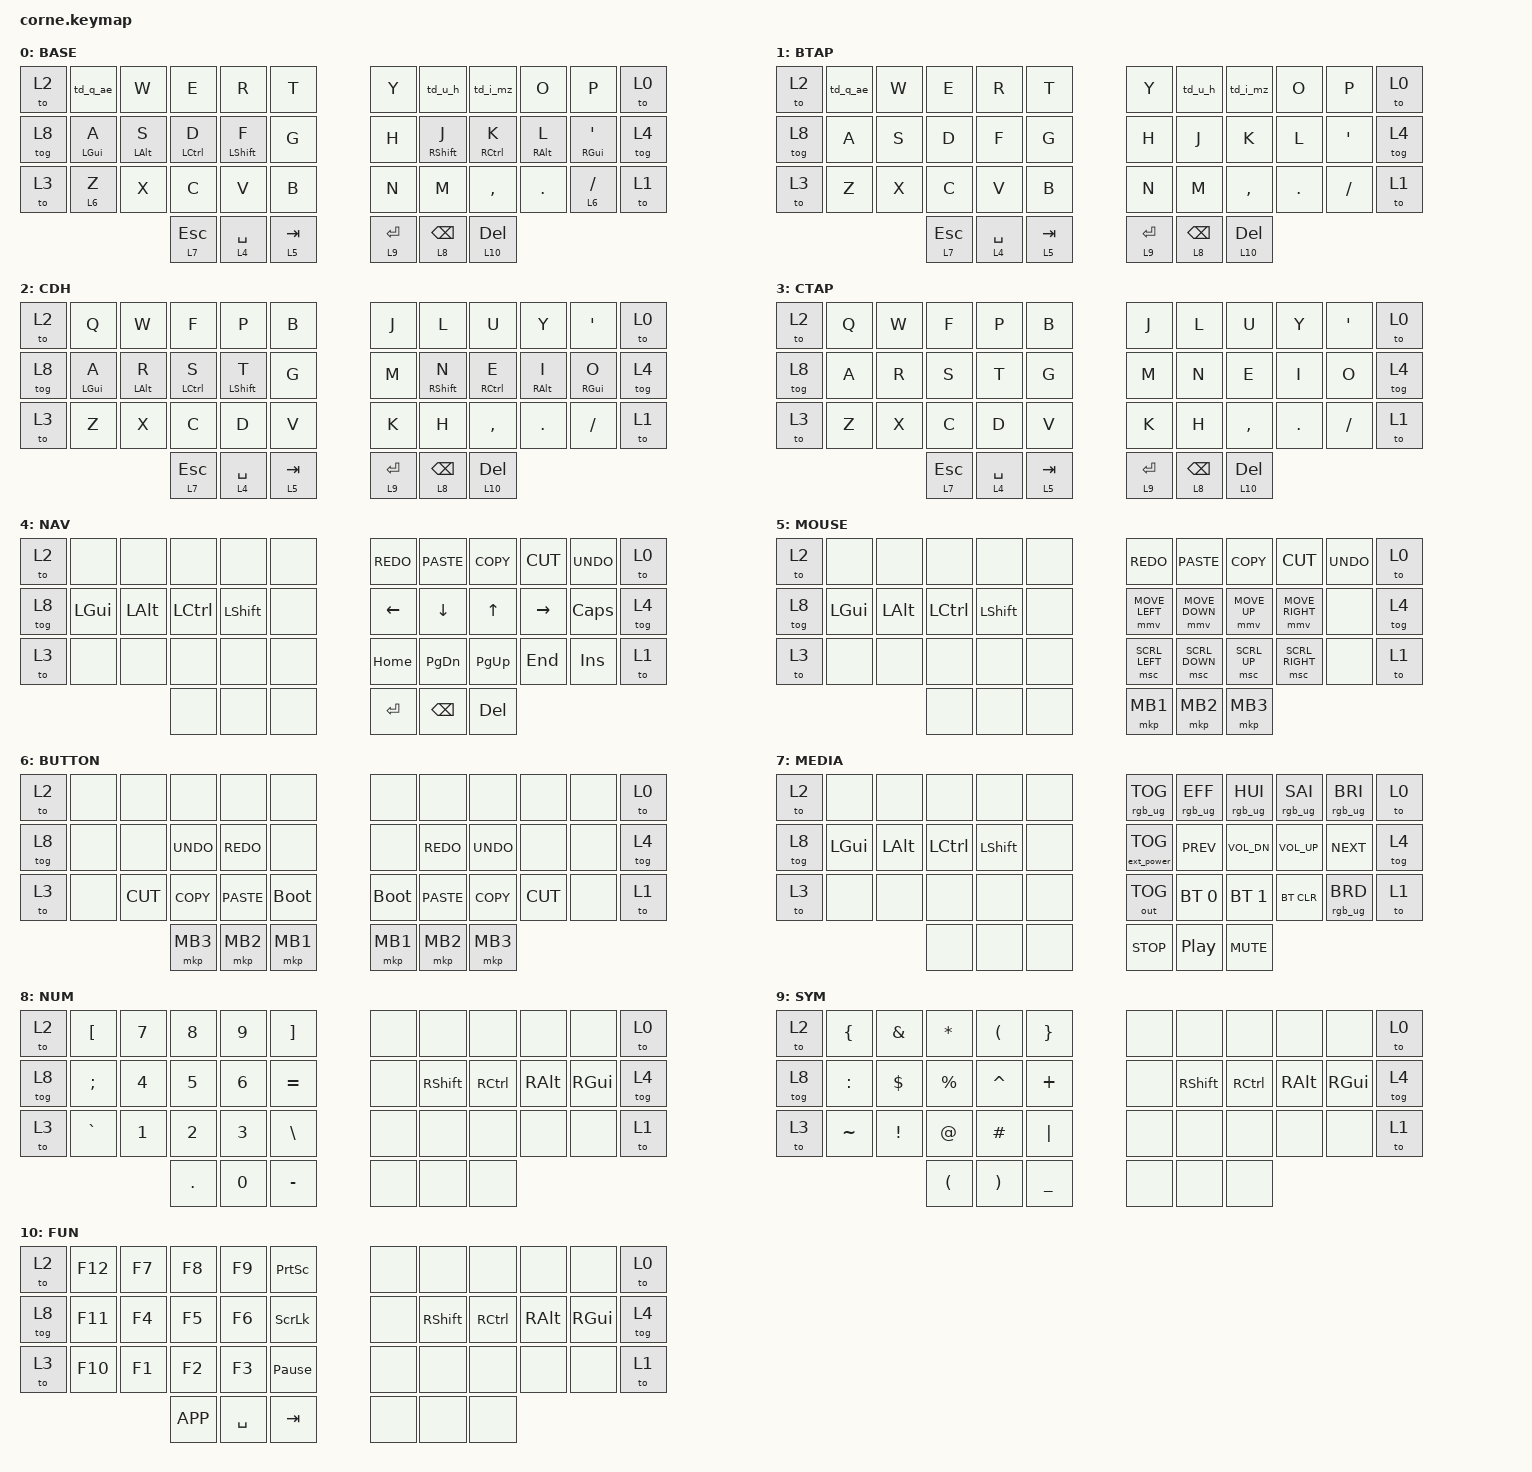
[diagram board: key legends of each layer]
/*
 * Copyright (c) 2020 The ZMK Contributors
 *
 * SPDX-License-Identifier: MIT
 */

#include <behaviors.dtsi>
#include <dt-bindings/zmk/keys.h>
#include <dt-bindings/zmk/bt.h>
#include <dt-bindings/zmk/ext_power.h>
#include <dt-bindings/zmk/outputs.h>
#include <dt-bindings/zmk/mouse.h>
#include <dt-bindings/zmk/rgb.h>

/ {
    behaviors {
    // Й / Э
        td_q_ae: td_q_ae {
        compatible = "zmk,behavior-tap-dance";
        #binding-cells = <0>;
        tapping-term-ms = <200>;
        bindings = <&kp Q>, <&kp SQT>;
    };
    // Г / Х
        td_u_h: td_u_h {
        compatible = "zmk,behavior-tap-dance";
        #binding-cells = <0>;
        tapping-term-ms = <200>;
        bindings = <&kp U>, <&kp LBRC>;
        };
    // Ш / Ъ
        td_i_mz: td_i_mz {
        compatible = "zmk,behavior-tap-dance";
        #binding-cells = <0>;
        tapping-term-ms = <200>;
        bindings = <&kp I>, <&kp RBRC>;
        };
        hml: home_row_mod_left {
            compatible = "zmk,behavior-hold-tap";
            #binding-cells = <2>;
            flavor = "balanced";
            require-prior-idle-ms = <150>;
            tapping-term-ms = <280>;
            quick-tap-ms = <175>;
            bindings = <&kp>, <&kp>;
            hold-trigger-key-positions = <6 7 8 9 10 11 18 19 20 21 22 23 30 31 32 33 34 35 39 40 41>;
            hold-trigger-on-release;
        };
        hmr: home_row_mod_right {
            compatible = "zmk,behavior-hold-tap";
            #binding-cells = <2>;
            flavor = "balanced";
            require-prior-idle-ms = <150>;
            tapping-term-ms = <280>;
            quick-tap-ms = <175>;
            bindings = <&kp>, <&kp>;
            hold-trigger-key-positions = <0 1 2 3 4 5 12 13 14 15 16 17 24 25 26 27 28 29 36 37 38>;
            hold-trigger-on-release;
        };
    };

        keymap {
                compatible = "zmk,keymap";

                base_layer { // Layer O
                    display-name = "BASE";
// -----------------------------------------------------------------------------------------
// | (CDH)  | Q          | W        | E         | R         | T |   | Y | U          | I         | O        | P             | (BASE) |
// | (NUM)  | A (LGUI)   | S (LALT) | D (LCTRL) | F (LSHFT) | G |   | H | J (RSHFT) | K (RCTRL) | L (RALT) | SQT (RGUI)    | (NAV)  |
// | (CTAP) | Z (BUTTON) | X        | C         | V         | B |   | N | M          | COMMA     | DOT      | FSLH (BUTTON) | (BTAP) |
//                      | ESC (MEDIA) | SPC (NAV) | TAB (MOUSE) |   | RET (SYM) | BSPC (NUM) | DEL (FUN) |
                        bindings = <
   &to 2    &td_q_ae     &kp W       &kp E        &kp R        &kp T   &kp Y &td_u_h       &td_i_mz         &kp O         &kp P         &to 0
   &tog 8  &hml LGUI A &hml LALT S &hml LCTRL D &hml LSHFT F &kp G   &kp H &hmr RSHFT J  &hmr RCTRL K     &hmr RALT L   &hmr RGUI SQT &tog 4
   &to 3    &lt 6 Z     &kp X       &kp C        &kp V        &kp B   &kp N &kp M         &kp COMMA        &kp DOT       &lt 6 FSLH    &to 1
                                     &lt 7 ESC &lt 4 SPC &lt 5 TAB   &lt 9 RET &lt 8 BSPC &lt 10 DEL
                        >;
                };

                btap_layer { // Layer 1
                    display-name = "BTAP";
// -----------------------------------------------------------------------------------------
// |  (CDH)   |  Q  |  W  |  E  |  R  |  T  |   |  Y  |  U  |  I     |  O    |  P      |  (BASE)  |
// |  (NUM)   |  A  |  S  |  D  |  F  |  G  |   |  H  |  J  |  K     |  L    |  SQT    |  (NAV)   |
// |  (CTAP)  |  Z  |  X  |  C  |  V  |  B  |   |  N  |  M  |  COMMA |  DOT  |  FSLH   |  (BTAP)  |
//  | ESC (MEDIA) | SPC (NAV) | TAB (MOUSE) |   | RET (SYM) | BSPC (NUM) | DEL (FUN) |
                        bindings = <
   &to 2   &td_q_ae &kp W &kp E &kp R &kp T   &kp Y &td_u_h &td_i_mz  &kp O   &kp P    &to 0
   &tog 8  &kp A    &kp S &kp D &kp F &kp G   &kp H &kp J   &kp K     &kp L   &kp SQT  &tog 4
   &to 3   &kp Z    &kp X &kp C &kp V &kp B   &kp N &kp M   &kp COMMA &kp DOT &kp FSLH &to 1
              &lt 7 ESC &lt 4 SPC &lt 5 TAB   &lt 9 RET &lt 8 BSPC &lt 10 DEL
                        >;
                };

                cdh_layer { // Layer 2
                    display-name = "CDH";
// -----------------------------------------------------------------------------------------
// | (CDH)  | Q          | W        | F         | P         | B |   | J | L         | U         | Y        | SQT           | (BASE) |
// | (NUM)  | A (LGUI)   | R (LALT) | S (LCTRL) | T (LSHFT) | G |   | M | N (RSHFT) | E (RCTRL) | I (RALT) | O (RGUI)      | (NAV)  |
// | (CTAP) | Z (BUTTON) | X        | C         | D         | V |   | K | H         | COMMA     | DOT      | FSLH (BUTTON) | (BTAP) |
//                      | ESC (MEDIA) | SPC (NAV) | TAB (MOUSE) |   | RET (SYM) | BSPC (NUM) | DEL (FUN) |
                        bindings = <
   &to 2  &kp Q       &kp W       &kp F        &kp P        &kp B   &kp J &kp L        &kp U        &kp Y       &kp SQT     &to 0
   &tog 8 &hml LGUI A &hml LALT R &hml LCTRL S &hml LSHFT T &kp G   &kp M &hmr RSHFT N &hmr RCTRL E &hmr RALT I &hmr RGUI O &tog 4
   &to 3  &kp Z       &kp X       &kp C        &kp D        &kp V   &kp K &kp H        &kp COMMA    &kp DOT     &kp FSLH    &to 1
                                    &lt 7 ESC &lt 4 SPC &lt 5 TAB   &lt 9 RET &lt 8 BSPC &lt 10 DEL
                        >;
                };

                ctap_layer { // Layer 3
                    display-name = "CTAP";
// -----------------------------------------------------------------------------------------
// |  (CDH)   |  Q  |  W  |  F  |  P  |  B  |   |  J  |  L  |  U      |  Y    |  SQT  |  (BASE)  |
// |  (NUM)   |  A  |  R  |  S  |  T  |  G  |   |  M  |  N  |  E      |  I    |  O    |  (NAV)   |
// |  (CTAP)  |  Z  |  X  |  C  |  D  |  V  |   |  K  |  H  |  COMMA  |  DOT  |  FSLH |  (BTAP)  |
//  | ESC (MEDIA) | SPC (NAV) | TAB (MOUSE) |   | ENT (SYM) | BSPC (NUM) | DEL (FUN) |
                        bindings = <
   &to 2  &kp Q    &kp W &kp F &kp P &kp B   &kp J &kp L  &kp U     &kp Y   &kp SQT  &to 0
   &tog 8 &kp A    &kp R &kp S &kp T &kp G   &kp M &kp N  &kp E     &kp I   &kp O    &tog 4
   &to 3  &kp Z    &kp X &kp C &kp D &kp V   &kp K &kp H  &kp COMMA &kp DOT &kp FSLH &to 1
            &lt 7 ESC &lt 4 SPC &lt 5 TAB   &lt 9 RET &lt 8 BSPC &lt 10 DEL
                        >;
                };

                navigation_layer { // Layer 4
                    display-name = "NAV";
// -----------------------------------------------------------------------------------------
// | (CDH)  |      |      |       |       |    |   | K_REDO | K_PASTE | K_COPY | K_CUT | K_UNDO | (BASE) |
// | (NUM)  | LGUI | LALT | LCTRL | LSHFT |    |   | LEFT   | DOWN    | UP     | RIGHT | CLCK   | (NAV)  |
// | (CTAP) |      |      |       |       |    |   | HOME   | PG_DN   | PG_UP  | END   | INS    | (BTAP) |
//                              |    |    |    |   | ENT | BSPC | DEL |
                        bindings = <
   &to 2  &none    &none    &none     &none     &none    &kp K_REDO &kp K_PASTE &kp K_COPY &kp K_CUT &kp K_UNDO &to 0
   &tog 8 &kp LGUI &kp LALT &kp LCTRL &kp LSHFT &none    &kp LEFT   &kp DOWN    &kp UP     &kp RIGHT &kp CLCK   &tog 4
   &to 3  &none    &none    &none     &none     &none    &kp HOME   &kp PG_DN   &kp PG_UP  &kp END   &kp INS    &to 1
                                    &none &none &none    &kp RET &kp BSPC &kp DEL
                        >;
                };

                mouse_layer { // Layer 5
                    display-name = "MOUSE";
// -----------------------------------------------------------------------------------------
// | (CDH)  |      |      |       |       |    |   | K_REDO    | K_PASTE   | K_COPY  | K_CUT      | K_UNDO | (BASE) |
// | (NUM)  | LGUI | LALT | LCTRL | LSHFT |    |   | MOVE_LEFT | MOVE_DOWN | MOVE_UP | MOVE_RIGHT |        | (NAV)  |
// | (CTAP) |      |      |       |       |    |   | SCRL_LEFT | SCRL_DOWN | SCRL_UP | SCRL_RIGHT |        | (BTAP) |
//                              |    |    |    |   | MB1 | MB2 | MB3 |
                        bindings = <
   &to 2  &none    &none    &none     &none     &none   &kp K_REDO     &kp K_PASTE    &kp K_COPY   &kp K_CUT       &kp K_UNDO &to 0
   &tog 8 &kp LGUI &kp LALT &kp LCTRL &kp LSHFT &none   &mmv MOVE_LEFT &mmv MOVE_DOWN &mmv MOVE_UP &mmv MOVE_RIGHT &none      &tog 4
   &to 3  &none    &none    &none     &none     &none   &msc SCRL_LEFT &msc SCRL_DOWN &msc SCRL_UP &msc SCRL_RIGHT &none      &to 1
                 &none &none &none   &mkp MB1 &mkp MB2 &mkp MB3
                        >;
                };

                button_layer { // Layer 6
                    display-name = "BUTTON";
// -----------------------------------------------------------------------------------------
// | (CDH)  |    |       |        |         |      |   |      |         |        |       |    | (BASE) |
// | (NUM)  |    |       | K_UNDO | K_REDO  |      |   |      | K_REDO  | K_UNDO |       |    | (NAV)  |
// | (CTAP) |    | K_CUT | K_COPY | K_PASTE | BOOT |   | BOOT | K_PASTE | K_COPY | K_CUT |    | (BTAP) |
//                               | MB3 | MB2 | MB1 |   | MB1 | MB2 | MB3 |
                        bindings = <
   &to 2  &none &none     &none      &none       &none         &none       &none       &none      &none     &none &to 0
   &tog 8 &none &none     &kp K_UNDO &kp K_REDO  &none         &none       &kp K_REDO  &kp K_UNDO &none     &none &tog 4
   &to 3  &none &kp K_CUT &kp K_COPY &kp K_PASTE &bootloader   &bootloader &kp K_PASTE &kp K_COPY &kp K_CUT &none &to 1
                               &mkp MB3 &mkp MB2 &mkp MB1   &mkp MB1 &mkp MB2 &mkp MB3
                        >;
                };

                media_layer { // Layer 7
                    display-name = "MEDIA";
// -----------------------------------------------------------------------------------------
// | (CDH)  |      |      |       |       |    |   | RGB_TOG | RGB_EFF  | RGB_HUI  | RGB_SAI  | RGB_BRI | (BASE) |
// | (NUM)  | LGUI | LALT | LCTRL | LSHFT |    |   | EP_TOG  | K_PREV   | C_VOL_DN | C_VOL_UP | C_NEXT  | (NAV)  |
// | (CTAP) |      |      |       |       |    |   | OUT_TOG | BT_SEL 0 | BT_SEL 1 | BT_CLR   | RGB_BRD | (BTAP) |
//                              |    |    |    |   | C_STOP | C_PP | C_MUTE |
                        bindings = <
   &to 2  &none    &none    &none     &none     &none   &rgb_ug RGB_TOG   &rgb_ug RGB_EFF  &rgb_ug RGB_HUI &rgb_ug RGB_SAI &rgb_ug RGB_BRI &to 0
   &tog 8 &kp LGUI &kp LALT &kp LCTRL &kp LSHFT &none   &ext_power EP_TOG &kp K_PREV       &kp C_VOL_DN    &kp C_VOL_UP    &kp C_NEXT      &tog 4
   &to 3  &none    &none    &none     &none     &none   &out OUT_TOG      &bt BT_SEL 0     &bt BT_SEL 1    &bt BT_CLR      &rgb_ug RGB_BRD &to 1
                                    &none &none &none   &kp C_STOP &kp C_PP &kp C_MUTE
                        >;
                };

                num_layer { // Layer 8
                    display-name = "NUM";
// -----------------------------------------------------------------------------------------
// | (CDH)  | LBKT  | N7 | N8 | N9 | RBKT  |   |    |       |       |      |      | (BASE) |
// | (NUM)  | SEMI  | N4 | N5 | N6 | EQUAL |   |    | RSHFT | RCTRL | RALT | RGUI | (NAV)  |
// | (CTAP) | GRAVE | N1 | N2 | N3 | BSLH  |   |    |       |       |      |      | (BTAP) |
//                      | DOT | N0 | MINUS |   |    |    |    |
                        bindings = <
   &to 2  &kp LBKT  &kp N7 &kp N8 &kp N9 &kp RBKT   &none &none     &none     &none    &none    &to 0
   &tog 8 &kp SEMI  &kp N4 &kp N5 &kp N6 &kp EQUAL  &none &kp RSHFT &kp RCTRL &kp RALT &kp RGUI &tog 4
   &to 3  &kp GRAVE &kp N1 &kp N2 &kp N3 &kp BSLH   &none &none     &none     &none    &none    &to 1
                  &kp DOT &kp N0 &kp MINUS   &none &none &none
                        >;
                };

                sym_layer { // Layer 9
                    display-name = "SYM";
// -----------------------------------------------------------------------------------------
// | (CDH)  | LBRC  | AMPS | ASTRK | LPAR  | RBRC |   |    |       |       |      |      | (BASE) |
// | (NUM)  | COLON | DLLR | PRCNT | CARET | PLUS |   |    | RSHFT | RCTRL | RALT | RGUI | (NAV)  |
// | (CTAP) | TILDE | EXCL | AT    | HASH  | PIPE |   |    |       |       |      |      | (BTAP) |
//                      | LPAR | RPAR | UNDER |   |   |    |    |
                        bindings = <
   &to 2  &kp LBRC  &kp AMPS &kp ASTRK &kp LPAR  &kp RBRC   &none &none     &none     &none    &none    &to 0
   &tog 8 &kp COLON &kp DLLR &kp PRCNT &kp CARET &kp PLUS   &none &kp RSHFT &kp RCTRL &kp RALT &kp RGUI &tog 4
   &to 3  &kp TILDE &kp EXCL &kp AT    &kp HASH  &kp PIPE   &none &none     &none     &none    &none    &to 1
                              &kp LPAR &kp RPAR &kp UNDER   &none &none &none
                        >;
                };

                fun_layer { // Layer 10
                    display-name = "FUN";
// -----------------------------------------------------------------------------------------
// | (CDH)  | F12 | F7 | F8 | F9 | PSCRN       |   |    |       |       |      |      | (BASE) |
// | (NUM)  | F11 | F4 | F5 | F6 | SLCK        |   |    | RSHFT | RCTRL | RALT | RGUI | (NAV)  |
// | (CTAP) | F10 | F1 | F2 | F3 | PAUSE_BREAK |   |    |       |       |      |      | (BTAP) |
//                       | K_APP | SPACE | TAB |   |    |    |    |
                        bindings = <
   &to 2  &kp F12 &kp F7 &kp F8 &kp F9 &kp PSCRN         &none &none     &none     &none    &none    &to 0
   &tog 8 &kp F11 &kp F4 &kp F5 &kp F6 &kp SLCK          &none &kp RSHFT &kp RCTRL &kp RALT &kp RGUI &tog 4
   &to 3  &kp F10 &kp F1 &kp F2 &kp F3 &kp PAUSE_BREAK   &none &none     &none     &none    &none    &to 1
                           &kp K_APP &kp SPACE &kp TAB   &none &none &none
                        >;
                };
        };
};
